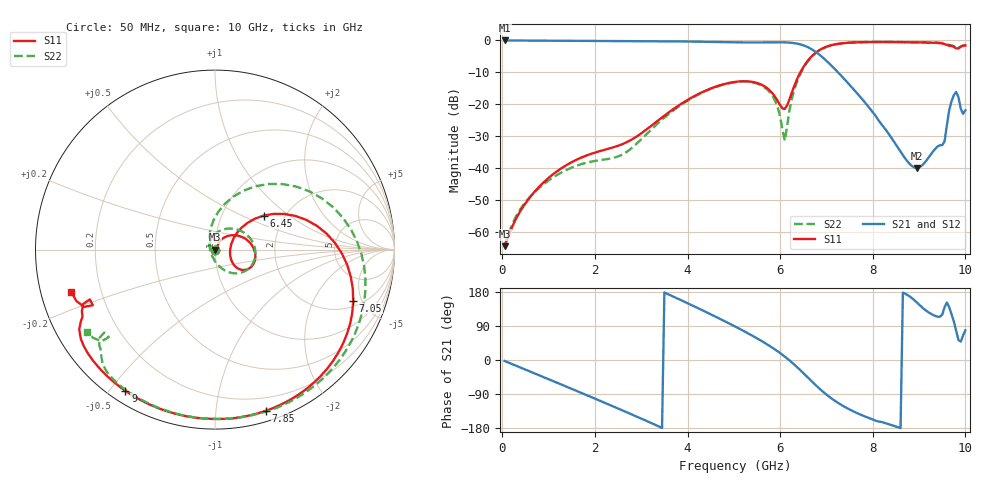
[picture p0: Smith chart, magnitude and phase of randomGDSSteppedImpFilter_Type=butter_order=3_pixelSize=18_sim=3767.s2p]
! freq	dB(S11)	phase(S11)	dB(S12)	phase(S12)
!  dB(S21)	phase(S21)	dB(S22)	phase(S22)
!S-par simulation data
#  GHz  S  DB  R 50
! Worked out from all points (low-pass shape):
!   200 points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, 50 MHz to 10 GHz, reference 50 ohm
!   highest |S21| = -0.01 dB at 50 MHz (marker M1); lowest = -39.9 dB at 8.95 GHz (marker M2)
!   |S21| within 3 dB of the highest: start of sweep to 6.708 GHz
!   lowest |S11| = -64.4 dB at 50 MHz (marker M3), VSWR 1.00, Z = 50 + j0.0378 ohm
!   |S11| at or under -10 dB: start of sweep to 6.436 GHz
!   |S22| runs from -64.1 to -0.5 dB; largest |S21 - S12| = 0
!   S11 on the Smith chart (normalised r, x): 50 MHz: 1.00, +0.00; 6.45 GHz: 1.57, +0.67; 7.05 GHz: 2.43, -4.25; 7.85 GHz: 0.09, -1.36; 9 GHz: 0.05, -0.55; 10 GHz: 0.09, -0.14
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0.05  -64.35 38.6  -0.01 -2.6  -0.01 -2.6  -64.13 38.0
0.65  -48.11 80.2  -0.04 -33.0  -0.04 -33.0  -48.13 32.3
1.75  -36.37 56.3  -0.10 -89.0  -0.10 -89.0  -38.50 -44.5
2.5  -32.95 51.2  -0.15 -128.0  -0.15 -128.0  -36.28 -128.8
3.4  -24.62 59.4  -0.24 -176.4  -0.24 -176.4  -25.40 118.0
4.15  -17.39 36.3  -0.37 141.2  -0.37 141.2  -17.58 61.2
5.05  -12.92 -6.7  -0.60 87.0  -0.60 87.0  -13.01 0.5
5.8  -16.00 -39.8  -0.59 35.0  -0.59 35.0  -16.63 -58.8
5.95  -19.02 -34.3  -0.57 22.5  -0.57 22.5  -21.08 -78.8
6.1  -21.43 2.6  -0.60 8.9  -0.60 8.9  -31.38 -169.6
6.25  -16.38 37.1  -0.74 -6.1  -0.74 -6.1  -18.41 101.8
6.45  -9.61 34.9  -1.29 -28.5  -1.29 -28.5  -10.09 70.8
6.7  -4.69 13.1  -2.93 -58.4  -2.93 -58.4  -4.85 37.9
7.05  -1.71 -20.3  -7.06 -96.1  -7.06 -96.1  -1.77 -1.7
7.85  -0.52 -72.4  -19.74 -150.0  -19.74 -150.0  -0.52 -58.7
8.35  -0.51 -95.3  -29.34 -169.7  -29.34 -169.7  -0.49 -82.5
8.95  -0.60 -120.3  -39.86 151.9  -39.86 151.9  -0.57 -107.4
9  -0.61 -122.4  -39.69 146.1  -39.69 146.1  -0.58 -109.4
9.55  -1.13 -149.5  -31.59 139.2  -31.59 139.2  -0.99 -134.6
9.65  -1.64 -153.1  -21.85 139.6  -21.85 139.6  -1.42 -138.3
9.8  -2.49 -158.3  -16.10 78.0  -16.10 78.0  -2.26 -143.2
10  -1.58 -163.5  -21.86 78.4  -21.86 78.4  -1.43 -147.3
